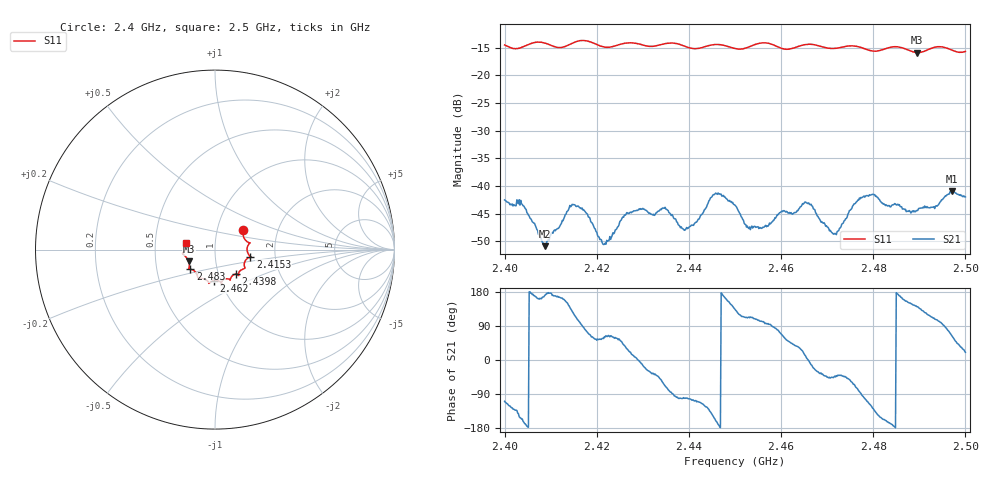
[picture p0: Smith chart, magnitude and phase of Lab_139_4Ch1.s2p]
# Hz S RI R 50
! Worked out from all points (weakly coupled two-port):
!   601 points, 2.4 GHz to 2.5 GHz, reference 50 ohm
!   highest |S21| = -40.98 dB at 2.4972 GHz (marker M1); lowest = -50.9 dB at 2.4087 GHz (marker M2)
!   lowest |S11| = -15.9 dB at 2.4895 GHz (marker M3), VSWR 1.38, Z = 36.9 - j5.01 ohm
!   |S11| at or under -10 dB: start of sweep to end of sweep
!   S12 and S22 are empty: the file has one direction only
!   S11 on the Smith chart (normalised r, x): 2.4 GHz: 1.33, +0.29; 2.4153 GHz: 1.48, -0.12; 2.4398 GHz: 1.21, -0.34; 2.462 GHz: 0.93, -0.33; 2.483 GHz: 0.74, -0.17; 2.5 GHz: 0.72, +0.06
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2.4e9  0.1551 0.1065  -0.00242 -0.00706  0 0  0 0
2.404e9  0.1745 0.0477  -0.00628 -0.0021  0 0  0 0
2.408667e9  0.193 0.0357  -0.0028 0.000514  0 0  0 0
2.415333e9  0.1966 -0.0386  -0.00287 0.00603  0 0  0 0
2.416667e9  0.2021 -0.0428  -0.000363 0.00619  0 0  0 0
2.421667e9  0.1698 -0.0604  0.0014 0.00261  0 0  0 0
2.4265e9  0.1678 -0.1017  0.00496 0.00285  0 0  0 0
2.433333e9  0.1311 -0.1335  0.0043 -0.00405  0 0  0 0
2.435e9  0.1311 -0.1433  0.00203 -0.00582  0 0  0 0
2.439833e9  0.1154 -0.1365  -0.000877 -0.00405  0 0  0 0
2.4455e9  0.0846 -0.17  -0.00746 -0.00373  0 0  0 0
2.45e9  0.0647 -0.1626  -0.00465 0.00483  0 0  0 0
2.453e9  0.0382 -0.1766  -0.00162 0.00378  0 0  0 0
2.462e9  -0.00505 -0.1733  0.00392 0.00408  0 0  0 0
2.466667e9  -0.0342 -0.1875  0.00641 -0.00158  0 0  0 0
2.4715e9  -0.0641 -0.1628  0.00261 -0.00257  0 0  0 0
2.4775e9  -0.0972 -0.149  -0.000314 -0.00781  0 0  0 0
2.483e9  -0.1378 -0.1095  -0.00633 -0.00195  0 0  0 0
2.483333e9  -0.1401 -0.1093  -0.00643 -0.00165  0 0  0 0
2.4895e9  -0.1464 -0.066  -0.00459 0.00383  0 0  0 0
2.497167e9  -0.1687 -0.00512  0.00422 0.00788  0 0  0 0
2.5e9  -0.1599 0.0391  0.00746 0.00275  0 0  0 0
